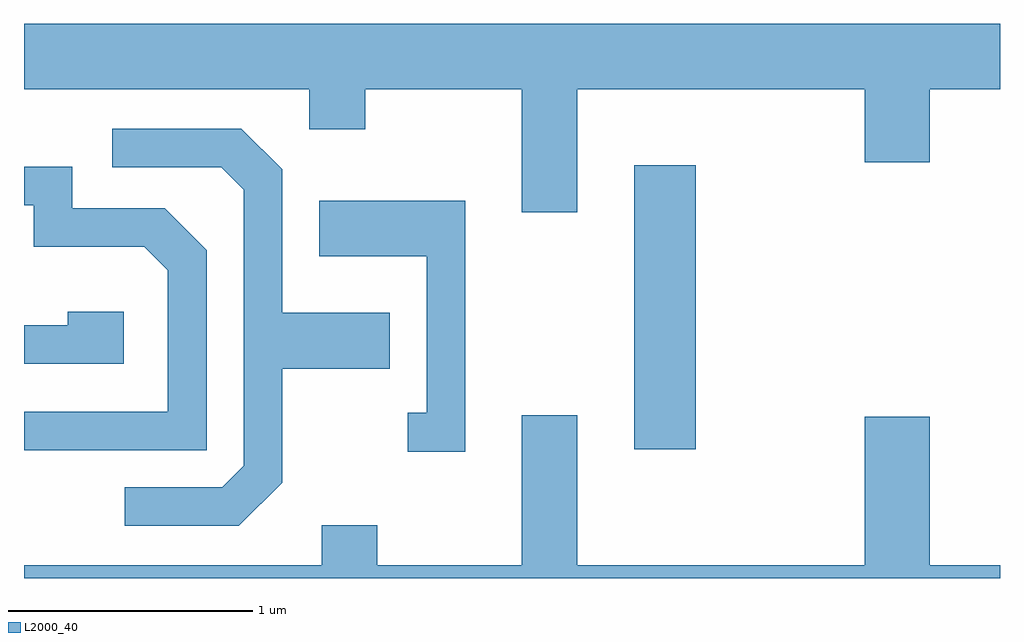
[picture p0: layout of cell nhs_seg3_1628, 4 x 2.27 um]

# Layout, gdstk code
import gdstk
lib = gdstk.Library(unit=1e-6, precision=1e-09)
def R(c, l, rs):  # rectangles x0, y0, x1, y1
    for r in rs: c.add(gdstk.rectangle(r[:2], r[2:], *l))
def P(c, l, *ps):  # polygons
    for p in ps: c.add(gdstk.Polygon(p, *l))
L2000_40 = (2000, 40)

nhs_seg3_1628 = lib.new_cell('nhs_seg3_1628')
R(nhs_seg3_1628, L2000_40, [(234.111,1244.421,234.364,1245.584)])
P(nhs_seg3_1628, L2000_40, [(233.879,1245.896),(235.056,1245.896),(235.056,1245.596),(235.324,1245.596),(235.324,1245.896),(235.611,1245.896),(235.611,1246.164),(231.611,1246.164),(231.611,1245.896),(232.781,1245.896),(232.781,1245.731),(233.009,1245.731),(233.009,1245.896),(233.651,1245.896),(233.651,1245.391),(233.879,1245.391)],
  [(232.669,1244.284),(232.669,1244.751),(233.109,1244.751),(233.109,1244.979),(232.669,1244.979),(232.669,1245.567),(232.502,1245.734),(231.973,1245.734),(231.973,1245.576),(232.419,1245.576),(232.511,1245.484),(232.511,1244.352),(232.424,1244.264),(232.023,1244.264),(232.023,1244.106),(232.492,1244.106)],
  [(232.359,1245.237),(232.187,1245.409),(231.809,1245.409),(231.809,1245.579),(231.611,1245.579),(231.611,1245.421),(231.651,1245.421),(231.651,1245.251),(232.104,1245.251),(232.201,1245.154),(232.201,1244.574),(231.611,1244.574),(231.611,1244.416),(232.359,1244.416)],
  [(233.419,1245.439),(232.821,1245.439),(232.821,1245.211),(233.261,1245.211),(233.261,1244.569),(233.183,1244.569),(233.183,1244.411),(233.419,1244.411)],
  [(232.019,1244.984),(231.791,1244.984),(231.791,1244.929),(231.611,1244.929),(231.611,1244.771),(232.019,1244.771)],
  [(235.611,1243.944),(235.324,1243.944),(235.324,1244.554),(235.056,1244.554),(235.056,1243.944),(233.879,1243.944),(233.879,1244.559),(233.651,1244.559),(233.651,1243.944),(233.059,1243.944),(233.059,1244.109),(232.831,1244.109),(232.831,1243.944),(231.611,1243.944),(231.611,1243.892),(235.611,1243.892)])

lib.write_gds('nhs_seg3_1628.gds')
